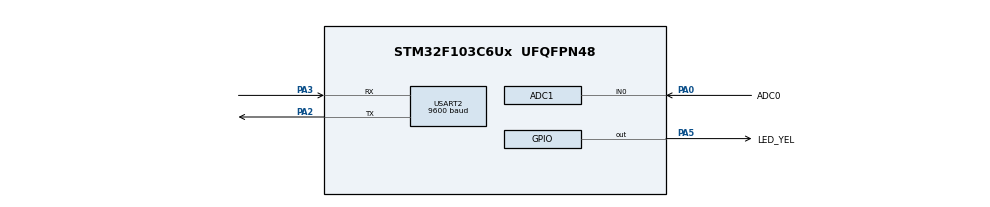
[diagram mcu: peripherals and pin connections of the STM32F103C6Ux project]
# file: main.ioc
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ADC1.Channel-0\#ChannelRegularConversion=ADC_CHANNEL_0
ADC1.ContinuousConvMode=ENABLE
ADC1.NbrOfConversionFlag=1
ADC1.Rank-0\#ChannelRegularConversion=1
ADC1.SamplingTime-0\#ChannelRegularConversion=ADC_SAMPLETIME_1CYCLE_5
ADC1.master=1
Mcu.Family=STM32F1
Mcu.Name=STM32F103C6Ux
Mcu.Package=UFQFPN48
NVIC.PriorityGroup=NVIC_PRIORITYGROUP_4
NVIC.TIM2_IRQn=true\:0\:0\:false\:false\:true\:true\:true
NVIC.USART2_IRQn=true\:0\:0\:false\:false\:true\:true\:true
PA0-WKUP.GPIO_Label=ADC0
PA0-WKUP.Signal=ADCx_IN0
PA2.Mode=Asynchronous
PA2.Signal=USART2_TX
PA3.Mode=Asynchronous
PA3.Signal=USART2_RX
PA5.GPIO_Label=LED_YEL
PA5.Signal=GPIO_Output
ProjectManager.HeapSize=0x200
ProjectManager.StackSize=0x400
ProjectManager.TargetToolchain=STM32CubeIDE
RCC.APB1Freq_Value=8000000
RCC.APB2Freq_Value=8000000
SH.ADCx_IN0.0=ADC1_IN0,IN0
TIM2.Prescaler=7999
USART2.BaudRate=9600
USART2.VirtualMode=VM_ASYNC
VP_SYS_VS_ND.Mode=No_Debug
VP_TIM2_VS_ClockSourceINT.Mode=Internal
board=custom

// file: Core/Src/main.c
/* USER CODE BEGIN Header */
/**
  ******************************************************************************
  * @file           : main.c
  * @brief          : Main program body
  ******************************************************************************
  * @attention
  *
  * <h2><center>&copy; Copyright (c) 2024 STMicroelectronics.
  * All rights reserved.</center></h2>
  *
  * This software component is licensed by ST under BSD 3-Clause license,
  * the "License"; You may not use this file except in compliance with the
  * License. You may obtain a copy of the License at:
  *                        opensource.org/licenses/BSD-3-Clause
  *
  ******************************************************************************
  */
/* USER CODE END Header */
#include "main.h"

/* USER CODE BEGIN Includes */
#include "stdio.h"
#include "uart.h"
#include "software_timer.h"
/* USER CODE END Includes */

ADC_HandleTypeDef hadc1;

TIM_HandleTypeDef htim2;

UART_HandleTypeDef huart2;

void SystemClock_Config(void);
static void MX_GPIO_Init(void);
static void MX_ADC1_Init(void);
static void MX_USART2_UART_Init(void);
static void MX_TIM2_Init(void);
/* USER CODE BEGIN PFP */
void HAL_TIM_PeriodElapsedCallback(TIM_HandleTypeDef *htim);
void HAL_UART_RxCpltCallback(UART_HandleTypeDef *huart);
/* USER CODE END PFP */

/* USER CODE BEGIN 0 */
//uint8_t temp = 0;
//uint8_t str[10];
//uint32_t ADC_value = 0;
/* USER CODE END 0 */

int main(void)
{

  /* MCU Configuration--------------------------------------------------------*/

  /* Reset of all peripherals, Initializes the Flash interface and the Systick. */
  HAL_Init();

  /* Configure the system clock */
  SystemClock_Config();

  /* Initialize all configured peripherals */
  MX_GPIO_Init();
  MX_ADC1_Init();
  MX_USART2_UART_Init();
  MX_TIM2_Init();
  /* USER CODE BEGIN 2 */
  HAL_TIM_Base_Start_IT(&htim2);
  HAL_ADC_Start(&hadc1);
  HAL_UART_Receive_IT(&huart2, &temp, 1);
  /* USER CODE END 2 */

  /* Infinite loop */
  /* USER CODE BEGIN WHILE */
  setTimer(1, 1000);
  while (1)
  {
//	  HAL_GPIO_TogglePin(LED_YEL_GPIO_Port, LED_YEL_Pin);
//	  ADC_value = HAL_ADC_GetValue(&hadc1);
//	  sprintf((char *)str, "%ld\r", ADC_value);
//	  HAL_UART_Transmit(&huart2, str, sizeof(str) , HAL_MAX_DELAY);
//	  HAL_Delay(500);
	  if (buffer_flag == 1)
	  {
		  fsm_command_parser();
		  buffer_flag = 0;
	  }
	  fsm_uart_communication();

	  if (isFlag(1))
	  {
		  HAL_GPIO_TogglePin(LED_YEL_GPIO_Port, LED_YEL_Pin);
		  setTimer(1, 1000);
	  }
    /* USER CODE END WHILE */

  }
}

void SystemClock_Config(void)
{
  RCC_OscInitTypeDef RCC_OscInitStruct = {0};
  RCC_ClkInitTypeDef RCC_ClkInitStruct = {0};
  RCC_PeriphCLKInitTypeDef PeriphClkInit = {0};

  /** Initializes the RCC Oscillators according to the specified parameters
  * in the RCC_OscInitTypeDef structure.
  */
  RCC_OscInitStruct.OscillatorType = RCC_OSCILLATORTYPE_HSI;
  RCC_OscInitStruct.HSIState = RCC_HSI_ON;
  RCC_OscInitStruct.HSICalibrationValue = RCC_HSICALIBRATION_DEFAULT;
  RCC_OscInitStruct.PLL.PLLState = RCC_PLL_NONE;
  if (HAL_RCC_OscConfig(&RCC_OscInitStruct) != HAL_OK)
  {
    Error_Handler();
  }
  /** Initializes the CPU, AHB and APB buses clocks
  */
  RCC_ClkInitStruct.ClockType = RCC_CLOCKTYPE_HCLK|RCC_CLOCKTYPE_SYSCLK
                              |RCC_CLOCKTYPE_PCLK1|RCC_CLOCKTYPE_PCLK2;
  RCC_ClkInitStruct.SYSCLKSource = RCC_SYSCLKSOURCE_HSI;
  RCC_ClkInitStruct.AHBCLKDivider = RCC_SYSCLK_DIV1;
  RCC_ClkInitStruct.APB1CLKDivider = RCC_HCLK_DIV1;
  RCC_ClkInitStruct.APB2CLKDivider = RCC_HCLK_DIV1;

  if (HAL_RCC_ClockConfig(&RCC_ClkInitStruct, FLASH_LATENCY_0) != HAL_OK)
  {
    Error_Handler();
  }
  PeriphClkInit.PeriphClockSelection = RCC_PERIPHCLK_ADC;
  PeriphClkInit.AdcClockSelection = RCC_ADCPCLK2_DIV2;
  if (HAL_RCCEx_PeriphCLKConfig(&PeriphClkInit) != HAL_OK)
  {
    Error_Handler();
  }
}

static void MX_ADC1_Init(void)
{

  ADC_ChannelConfTypeDef sConfig = {0};

  /** Common config
  */
  hadc1.Instance = ADC1;
  hadc1.Init.ScanConvMode = ADC_SCAN_DISABLE;
  hadc1.Init.ContinuousConvMode = ENABLE;
  hadc1.Init.DiscontinuousConvMode = DISABLE;
  hadc1.Init.ExternalTrigConv = ADC_SOFTWARE_START;
  hadc1.Init.DataAlign = ADC_DATAALIGN_RIGHT;
  hadc1.Init.NbrOfConversion = 1;
  if (HAL_ADC_Init(&hadc1) != HAL_OK)
  {
    Error_Handler();
  }
  /** Configure Regular Channel
  */
  sConfig.Channel = ADC_CHANNEL_0;
  sConfig.Rank = ADC_REGULAR_RANK_1;
  sConfig.SamplingTime = ADC_SAMPLETIME_1CYCLE_5;
  if (HAL_ADC_ConfigChannel(&hadc1, &sConfig) != HAL_OK)
  {
    Error_Handler();
  }

}

static void MX_TIM2_Init(void)
{

  TIM_ClockConfigTypeDef sClockSourceConfig = {0};
  TIM_MasterConfigTypeDef sMasterConfig = {0};

  htim2.Instance = TIM2;
  htim2.Init.Prescaler = 7999;
  htim2.Init.CounterMode = TIM_COUNTERMODE_UP;
  htim2.Init.Period = 9;
  htim2.Init.ClockDivision = TIM_CLOCKDIVISION_DIV1;
  htim2.Init.AutoReloadPreload = TIM_AUTORELOAD_PRELOAD_DISABLE;
  if (HAL_TIM_Base_Init(&htim2) != HAL_OK)
  {
    Error_Handler();
  }
  sClockSourceConfig.ClockSource = TIM_CLOCKSOURCE_INTERNAL;
  if (HAL_TIM_ConfigClockSource(&htim2, &sClockSourceConfig) != HAL_OK)
  {
    Error_Handler();
  }
  sMasterConfig.MasterOutputTrigger = TIM_TRGO_RESET;
  sMasterConfig.MasterSlaveMode = TIM_MASTERSLAVEMODE_DISABLE;
  if (HAL_TIMEx_MasterConfigSynchronization(&htim2, &sMasterConfig) != HAL_OK)
  {
    Error_Handler();
  }

}

static void MX_USART2_UART_Init(void)
{

  huart2.Instance = USART2;
  huart2.Init.BaudRate = 9600;
  huart2.Init.WordLength = UART_WORDLENGTH_8B;
  huart2.Init.StopBits = UART_STOPBITS_1;
  huart2.Init.Parity = UART_PARITY_NONE;
  huart2.Init.Mode = UART_MODE_TX_RX;
  huart2.Init.HwFlowCtl = UART_HWCONTROL_NONE;
  huart2.Init.OverSampling = UART_OVERSAMPLING_16;
  if (HAL_UART_Init(&huart2) != HAL_OK)
  {
    Error_Handler();
  }

}

static void MX_GPIO_Init(void)
{
  GPIO_InitTypeDef GPIO_InitStruct = {0};

  /* GPIO Ports Clock Enable */
  __HAL_RCC_GPIOA_CLK_ENABLE();

  /*Configure GPIO pin Output Level */
  HAL_GPIO_WritePin(LED_YEL_GPIO_Port, LED_YEL_Pin, GPIO_PIN_RESET);

  /*Configure GPIO pin : LED_YEL_Pin */
  GPIO_InitStruct.Pin = LED_YEL_Pin;
  GPIO_InitStruct.Mode = GPIO_MODE_OUTPUT_PP;
  GPIO_InitStruct.Pull = GPIO_NOPULL;
  GPIO_InitStruct.Speed = GPIO_SPEED_FREQ_LOW;
  HAL_GPIO_Init(LED_YEL_GPIO_Port, &GPIO_InitStruct);

}

/* USER CODE BEGIN 4 */
void HAL_TIM_PeriodElapsedCallback(TIM_HandleTypeDef *htim)
{
	timerRun();
}

void HAL_UART_RxCpltCallback(UART_HandleTypeDef *huart)
{
//	if (huart->Instance == USART2)
//	{
//		HAL_UART_Transmit(&huart2, &temp, 1, HAL_MAX_DELAY);
//		HAL_UART_Receive_IT(&huart2, &temp, 1);
//	}
	get_uart_message(huart);
}
/* USER CODE END 4 */

void Error_Handler(void)
{
  __disable_irq();
  while (1)
  {
  }
}

/************************ (C) COPYRIGHT STMicroelectronics *****END OF FILE****/
